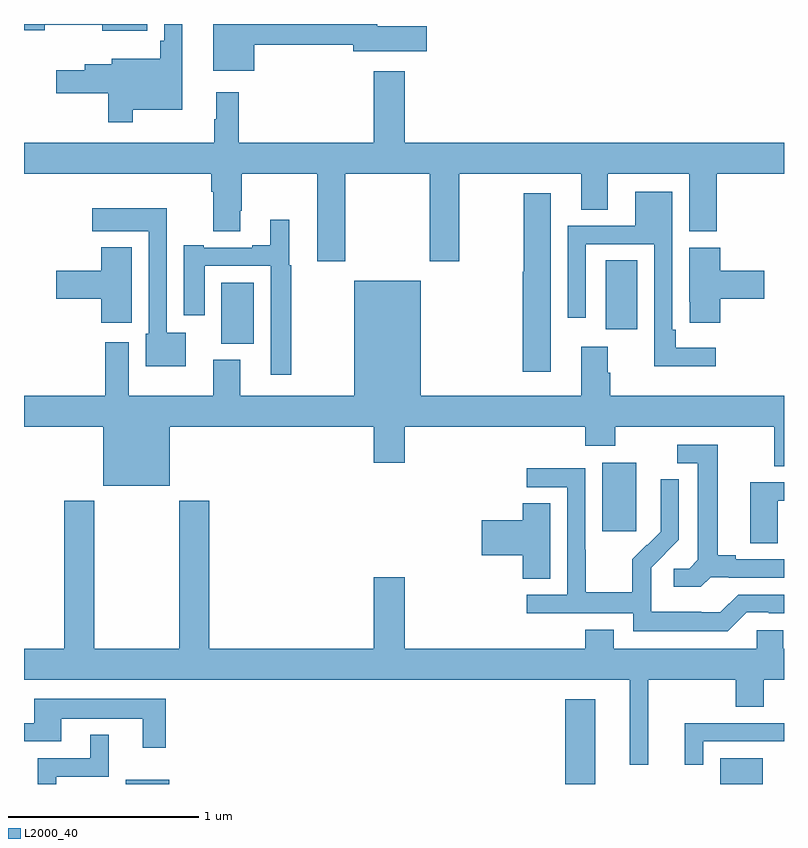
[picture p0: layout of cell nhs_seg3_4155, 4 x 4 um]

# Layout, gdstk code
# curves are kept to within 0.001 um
import gdstk
lib = gdstk.Library(unit=1e-6, precision=1e-09)
def R(c, l, rs):  # rectangles x0, y0, x1, y1
    for r in rs: c.add(gdstk.rectangle(r[:2], r[2:], *l))
def P(c, l, *ps):  # polygons
    for p in ps: c.add(gdstk.Polygon(p, *l))
L2000_40 = (2000, 40)

nhs_seg3_4155 = lib.new_cell('nhs_seg3_4155')
R(nhs_seg3_4155, L2000_40, [(331.535,668.4,331.765,668.422), (333.848,668.4,334.006,668.845), (334.664,668.4,334.888,668.536), (334.043,669.729,334.222,670.09), (332.039,670.718,332.209,671.038), (334.061,670.794,334.228,671.156)])
P(nhs_seg3_4155, L2000_40, [(332.212,672.292),(332.732,672.292),(332.732,672.257),(333.121,672.257),(333.121,672.387),(332.86,672.387),(332.86,672.4),(331.997,672.4),(331.997,672.155),(332.212,672.155)],
  [(331.573,671.948),(331.834,671.948),(331.834,672.4),(331.737,672.4),(331.737,672.313),(331.717,672.313),(331.717,672.217),(331.463,672.217),(331.463,672.187),(331.319,672.187),(331.319,672.157),(331.17,672.157),(331.17,672.035),(331.444,672.035),(331.444,671.883),(331.573,671.883)],
  [(331.648,672.4),(331,672.4),(331,672.368),(331.11,672.368),(331.11,672.395),(331.412,672.395),(331.412,672.365),(331.648,672.365)],
  [(332.691,671.612),(333.136,671.612),(333.136,671.151),(333.291,671.151),(333.291,671.612),(333.932,671.612),(333.932,671.422),(334.072,671.422),(334.072,671.612),(334.502,671.612),(334.502,671.308),(334.646,671.308),(334.646,671.612),(335,671.612),(335,671.776),(333.004,671.776),(333.004,672.151),(332.84,672.151),(332.84,671.776),(332.129,671.776),(332.129,672.04),(332.012,672.04),(332.012,671.9),(332.001,671.9),(332.001,671.776),(331,671.776),(331,671.612),(331.985,671.612),(331.985,671.516),(331.997,671.516),(331.997,671.308),(332.137,671.308),(332.137,671.416),(332.145,671.416),(332.145,671.612),(332.543,671.612),(332.543,671.151),(332.691,671.151)],
  [(334.642,670.696),(334.429,670.696),(334.429,670.792),(334.413,670.792),(334.413,671.518),(334.217,671.518),(334.217,671.337),(333.861,671.337),(333.861,670.854),(333.957,670.854),(333.957,671.241),(334.317,671.241),(334.317,670.598),(334.642,670.598)],
  [(333.772,671.509),(333.631,671.509),(333.631,671.096),(333.626,671.096),(333.626,670.569),(333.772,670.569)],
  [(331.852,670.774),(331.752,670.774),(331.752,671.431),(331.359,671.431),(331.359,671.309),(331.656,671.309),(331.656,670.77),(331.64,670.77),(331.64,670.598),(331.852,670.598)],
  [(332.407,671.13),(332.395,671.13),(332.395,671.371),(332.297,671.371),(332.297,671.236),(332.201,671.236),(332.201,671.223),(331.945,671.223),(331.945,671.236),(331.841,671.236),(331.841,670.866),(331.951,670.866),(331.951,671.127),(332.298,671.127),(332.298,670.554),(332.407,670.554)],
  [(331.567,671.224),(331.406,671.224),(331.406,671.102),(331.17,671.102),(331.17,670.955),(331.406,670.955),(331.406,670.827),(331.567,670.827)],
  [(334.664,670.955),(334.897,670.955),(334.897,671.102),(334.664,671.102),(334.664,671.223),(334.502,671.223),(334.502,670.939),(334.503,670.939),(334.503,670.827),(334.664,670.827)],
  [(331.768,670.28),(332.84,670.28),(332.84,670.092),(333.004,670.092),(333.004,670.28),(333.953,670.28),(333.953,670.181),(334.113,670.181),(334.113,670.28),(334.949,670.28),(334.949,670.072),(335,670.072),(335,670.444),(334.085,670.444),(334.085,670.565),(334.072,670.565),(334.072,670.702),(333.932,670.702),(333.932,670.444),(333.088,670.444),(333.088,671.05),(332.738,671.05),(332.738,670.444),(332.137,670.444),(332.137,670.633),(331.997,670.633),(331.997,670.444),(331.552,670.444),(331.552,670.726),(331.427,670.726),(331.427,670.444),(331,670.444),(331,670.28),(331.418,670.28),(331.418,669.971),(331.768,669.971)],
  [(334.614,669.489),(334.708,669.489),(334.708,669.486),(335,669.486),(335,669.582),(334.747,669.582),(334.747,669.605),(334.651,669.605),(334.651,670.185),(334.437,670.185),(334.437,670.089),(334.547,670.089),(334.547,669.581),(334.5,669.534),(334.419,669.534),(334.419,669.437),(334.562,669.437)],
  [(334.803,669.303),(334.919,669.303),(334.919,669.3),(335,669.3),(335,669.396),(334.758,669.396),(334.665,669.303),(334.565,669.303),(334.565,669.307),(334.302,669.307),(334.302,669.441),(334.3,669.441),(334.3,669.538),(334.446,669.686),(334.446,670.004),(334.35,670.004),(334.35,669.85),(334.352,669.85),(334.352,669.728),(334.281,669.657),(334.278,669.66),(334.201,669.583),(334.201,669.409),(333.957,669.409),(333.957,669.632),(333.954,669.632),(333.954,670.062),(333.645,670.062),(333.645,669.963),(333.858,669.963),(333.858,669.396),(333.645,669.396),(333.645,669.3),(334.206,669.3),(334.206,669.203),(334.703,669.203)],
  [(334.968,669.891),(335,669.891),(335,669.987),(334.823,669.987),(334.823,669.667),(334.968,669.667)],
  [(334.286,668.948),(334.747,668.948),(334.747,668.806),(334.894,668.806),(334.894,668.948),(335,668.948),(335,669.112),(334.995,669.112),(334.995,669.21),(334.857,669.21),(334.857,669.112),(334.105,669.112),(334.105,669.211),(333.953,669.211),(333.953,669.112),(333.004,669.112),(333.004,669.487),(332.84,669.487),(332.84,669.112),(331.976,669.112),(331.976,669.892),(331.816,669.892),(331.816,669.112),(331.371,669.112),(331.371,669.892),(331.211,669.892),(331.211,669.112),(331,669.112),(331,668.948),(334.187,668.948),(334.187,668.502),(334.286,668.502)],
  [(333.769,669.878),(333.626,669.878),(333.626,669.788),(333.408,669.788),(333.408,669.605),(333.626,669.605),(333.626,669.481),(333.769,669.481)],
  [(331.747,668.848),(331.055,668.848),(331.055,668.721),(331,668.721),(331,668.625),(331.195,668.625),(331.195,668.744),(331.625,668.744),(331.625,668.592),(331.747,668.592)],
  [(334.575,668.625),(335,668.625),(335,668.721),(334.478,668.721),(334.478,668.502),(334.575,668.502)],
  [(331.17,668.439),(331.447,668.439),(331.447,668.659),(331.349,668.659),(331.349,668.535),(331.073,668.535),(331.073,668.4),(331.17,668.4)])

lib.write_gds('nhs_seg3_4155.gds')
